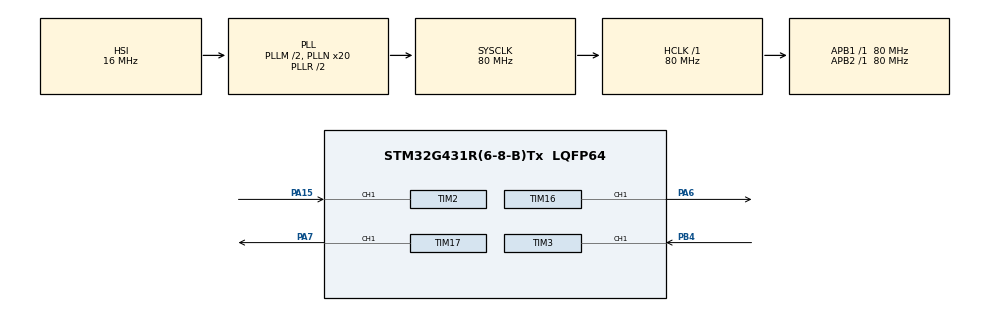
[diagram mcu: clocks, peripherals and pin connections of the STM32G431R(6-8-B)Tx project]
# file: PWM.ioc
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Mcu.Family=STM32G4
Mcu.Name=STM32G431R(6-8-B)Tx
Mcu.Package=LQFP64
NVIC.PriorityGroup=NVIC_PRIORITYGROUP_4
NVIC.TIM2_IRQn=true\:0\:0\:false\:false\:true\:true\:true\:true
NVIC.TIM3_IRQn=true\:0\:0\:false\:false\:true\:true\:true\:true
PA15.Signal=S_TIM2_CH1
PA6.Signal=S_TIM16_CH1
PA7.Signal=S_TIM17_CH1
PB4.Signal=S_TIM3_CH1
PF0-OSC_IN.Mode=HSE-External-Oscillator
PF0-OSC_IN.Signal=RCC_OSC_IN
PF1-OSC_OUT.Mode=HSE-External-Oscillator
PF1-OSC_OUT.Signal=RCC_OSC_OUT
ProjectManager.HeapSize=0x200
ProjectManager.StackSize=0x400
ProjectManager.TargetToolchain=MDK-ARM V5
RCC.ADC12Freq_Value=80000000
RCC.AHBFreq_Value=80000000
RCC.APB1Freq_Value=80000000
RCC.APB1TimFreq_Value=80000000
RCC.APB2Freq_Value=80000000
RCC.APB2TimFreq_Value=80000000
RCC.CortexFreq_Value=80000000
RCC.EXTERNAL_CLOCK_VALUE=12288000
RCC.HCLKFreq_Value=80000000
RCC.HSE_VALUE=8000000
RCC.HSI48_VALUE=48000000
RCC.HSI_VALUE=16000000
RCC.LSE_VALUE=32768
RCC.PLLM=RCC_PLLM_DIV2
RCC.PLLN=20
RCC.SYSCLKFreq_VALUE=80000000
RCC.SYSCLKSource=RCC_SYSCLKSOURCE_PLLCLK
RCC.USBFreq_Value=80000000
RCC.VCOOutputFreq_Value=160000000
SH.S_TIM16_CH1.0=TIM16_CH1,PWM Generation1 CH1
SH.S_TIM17_CH1.0=TIM17_CH1,PWM Generation1 CH1
SH.S_TIM2_CH1.0=TIM2_CH1,Input_Capture1_from_TI1
SH.S_TIM3_CH1.0=TIM3_CH1,Input_Capture1_from_TI1
TIM16.Channel=TIM_CHANNEL_1
TIM16.PeriodNoDither=99
TIM16.Prescaler=79
TIM16.PulseNoDither_1=20
TIM17.Channel=TIM_CHANNEL_1
TIM17.PeriodNoDither=999
TIM17.Prescaler=79
TIM17.PulseNoDither_1=200
TIM2.Channel-Input_Capture1_from_TI1=TIM_CHANNEL_1
TIM2.PeriodNoDither=0xffffffff
TIM2.Prescaler=79
TIM3.Channel-Input_Capture1_from_TI1=TIM_CHANNEL_1
TIM3.Prescaler=79
VP_SYS_VS_DBSignals.Mode=DisableDeadBatterySignals
VP_TIM16_VS_ClockSourceINT.Mode=Enable_Timer
VP_TIM17_VS_ClockSourceINT.Mode=Enable_Timer
board=custom

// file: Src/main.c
/* USER CODE BEGIN Header */
/**
  ******************************************************************************
  * @file           : main.c
  * @brief          : Main program body
  ******************************************************************************
  * @attention
  *
  * Copyright (c) 2024 STMicroelectronics.
  * All rights reserved.
  *
  * This software is licensed under terms that can be found in the LICENSE file
  * in the root directory of this software component.
  * If no LICENSE file comes with this software, it is provided AS-IS.
  *
  ******************************************************************************
  */
/* USER CODE END Header */
#include "main.h"
#include "tim.h"
#include "gpio.h"

/* USER CODE BEGIN PV */

uint32_t tim2_cnt1 = 0;
uint32_t f40 = 0;
uint32_t tim3_cnt1 = 0;
uint32_t f39 = 0;

void HAL_TIM_IC_CaptureCallback(TIM_HandleTypeDef *htim)
{
	if(htim==&htim2)
	{
	tim2_cnt1 = __HAL_TIM_GetCounter(&htim2);//获取CNT，对应CNT(us)
	__HAL_TIM_SetCounter(&htim2,0);			// 设置CNT为0，重新开始计时

	f40 = 1000000/tim2_cnt1;				//R40的调整的555频率

	HAL_TIM_IC_Start_IT(&htim2,TIM_CHANNEL_1);//开启TIM2_CH1的输入捕获中断
	}
	if(htim==&htim2)
	{
		tim3_cnt1 = __HAL_TIM_GetCounter(&htim3);//获取CNT，对应CNT(us)
	__HAL_TIM_SetCounter(&htim3,0);			// 设置CNT为0，重新开始计时

	f39 = 1000000/tim3_cnt1;				//R40的调整的555频率

	HAL_TIM_IC_Start_IT(&htim3,TIM_CHANNEL_1);//开启TIM2_CH1的输入捕获中断
	}

}

/* USER CODE END PV */

void SystemClock_Config(void);

int main(void)
{

  /* MCU Configuration--------------------------------------------------------*/

  /* Reset of all peripherals, Initializes the Flash interface and the Systick. */
  HAL_Init();

  /* Configure the system clock */
  SystemClock_Config();

  /* Initialize all configured peripherals */
  MX_GPIO_Init();
  MX_TIM2_Init();
  MX_TIM3_Init();
  MX_TIM17_Init();
//  MX_TIM16_Init();
  /* USER CODE BEGIN 2 */
 HAL_TIM_IC_Start_IT(&htim2,TIM_CHANNEL_1);
 HAL_TIM_IC_Start_IT(&htim3,TIM_CHANNEL_1);
// HAL_TIM_PWM_Start(&htim16,TIM_CHANNEL_1);
 HAL_TIM_PWM_Start(&htim17,TIM_CHANNEL_1);
 TIM17->ARR = 999;
 TIM17->CCR1 = 500;
 MX_TIM16_Init();

  /* USER CODE END 2 */

  /* Infinite loop */
  while (1)
  {

  }
}

void SystemClock_Config(void)
{
  RCC_OscInitTypeDef RCC_OscInitStruct = {0};
  RCC_ClkInitTypeDef RCC_ClkInitStruct = {0};

  /** Configure the main internal regulator output voltage
  */
  HAL_PWREx_ControlVoltageScaling(PWR_REGULATOR_VOLTAGE_SCALE1);

  /** Initializes the RCC Oscillators according to the specified parameters
  * in the RCC_OscInitTypeDef structure.
  */
  RCC_OscInitStruct.OscillatorType = RCC_OSCILLATORTYPE_HSI;
  RCC_OscInitStruct.HSIState = RCC_HSI_ON;
  RCC_OscInitStruct.HSICalibrationValue = RCC_HSICALIBRATION_DEFAULT;
  RCC_OscInitStruct.PLL.PLLState = RCC_PLL_ON;
  RCC_OscInitStruct.PLL.PLLSource = RCC_PLLSOURCE_HSI;
  RCC_OscInitStruct.PLL.PLLM = RCC_PLLM_DIV2;
  RCC_OscInitStruct.PLL.PLLN = 20;
  RCC_OscInitStruct.PLL.PLLP = RCC_PLLP_DIV2;
  RCC_OscInitStruct.PLL.PLLQ = RCC_PLLQ_DIV2;
  RCC_OscInitStruct.PLL.PLLR = RCC_PLLR_DIV2;
  if (HAL_RCC_OscConfig(&RCC_OscInitStruct) != HAL_OK)
  {
    Error_Handler();
  }

  /** Initializes the CPU, AHB and APB buses clocks
  */
  RCC_ClkInitStruct.ClockType = RCC_CLOCKTYPE_HCLK|RCC_CLOCKTYPE_SYSCLK
                              |RCC_CLOCKTYPE_PCLK1|RCC_CLOCKTYPE_PCLK2;
  RCC_ClkInitStruct.SYSCLKSource = RCC_SYSCLKSOURCE_PLLCLK;
  RCC_ClkInitStruct.AHBCLKDivider = RCC_SYSCLK_DIV1;
  RCC_ClkInitStruct.APB1CLKDivider = RCC_HCLK_DIV1;
  RCC_ClkInitStruct.APB2CLKDivider = RCC_HCLK_DIV1;

  if (HAL_RCC_ClockConfig(&RCC_ClkInitStruct, FLASH_LATENCY_2) != HAL_OK)
  {
    Error_Handler();
  }
}

void Error_Handler(void)
{
  __disable_irq();
  while (1)
  {
  }
}
